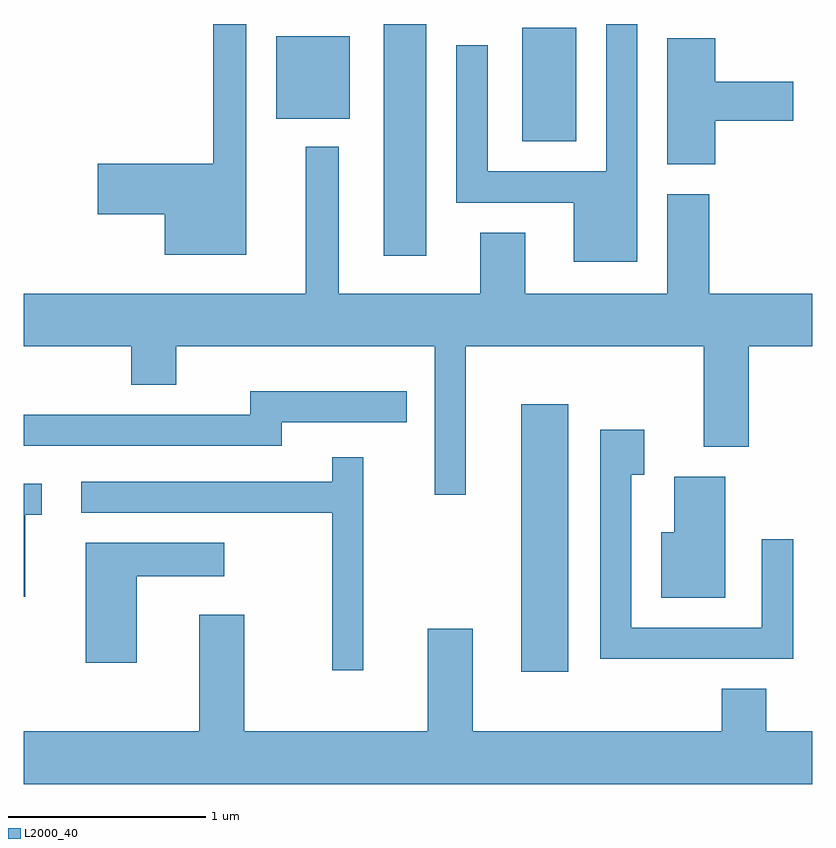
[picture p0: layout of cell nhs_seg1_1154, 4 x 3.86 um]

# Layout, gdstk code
import gdstk
lib = gdstk.Library(unit=1e-6, precision=1e-09)
def R(c, l, rs):  # rectangles x0, y0, x1, y1
    for r in rs: c.add(gdstk.rectangle(r[:2], r[2:], *l))
def P(c, l, *ps):  # polygons
    for p in ps: c.add(gdstk.Polygon(p, *l))
L2000_40 = (2000, 40)

nhs_seg1_1154 = lib.new_cell('nhs_seg1_1154')
R(nhs_seg1_1154, L2000_40, [(224.136,842.426,224.374,843.784), (223.436,844.536,223.654,845.712), (224.141,845.116,224.414,845.694), (222.891,845.231,223.264,845.649)])
P(nhs_seg1_1154, L2000_40, [(222.739,845.712),(222.571,845.712),(222.571,845.004),(221.986,845.004),(221.986,844.746),(222.326,844.746),(222.326,844.541),(222.739,844.541)],
  [(224.724,845.712),(224.566,845.712),(224.566,844.964),(223.964,844.964),(223.964,845.603),(223.806,845.603),(223.806,844.806),(224.401,844.806),(224.401,844.506),(224.724,844.506)],
  [(225.119,845.221),(225.514,845.221),(225.514,845.419),(225.119,845.419),(225.119,845.639),(224.876,845.639),(224.876,845.001),(225.119,845.001)],
  [(223.854,844.076),(225.061,844.076),(225.061,843.566),(225.289,843.566),(225.289,844.076),(225.611,844.076),(225.611,844.344),(225.089,844.344),(225.089,844.849),(224.876,844.849),(224.876,844.344),(224.154,844.344),(224.154,844.654),(223.926,844.654),(223.926,844.344),(223.209,844.344),(223.209,845.088),(223.041,845.088),(223.041,844.344),(221.611,844.344),(221.611,844.076),(222.156,844.076),(222.156,843.881),(222.384,843.881),(222.384,844.076),(223.696,844.076),(223.696,843.323),(223.854,843.323)],
  [(222.919,843.691),(223.553,843.691),(223.553,843.849),(222.761,843.849),(222.761,843.729),(221.611,843.729),(221.611,843.571),(222.919,843.571)],
  [(225.514,843.098),(225.356,843.098),(225.356,842.649),(224.694,842.649),(224.694,843.426),(224.759,843.426),(224.759,843.654),(224.536,843.654),(224.536,842.491),(225.514,842.491)],
  [(223.334,843.513),(223.176,843.513),(223.176,843.389),(221.903,843.389),(221.903,843.231),(223.176,843.231),(223.176,842.433),(223.334,842.433)],
  [(225.169,843.414),(224.911,843.414),(224.911,843.134),(224.846,843.134),(224.846,842.801),(225.169,842.801)],
  [(221.619,843.221),(221.703,843.221),(221.703,843.379),(221.611,843.379),(221.611,842.806),(221.619,842.806)],
  [(222.184,842.911),(222.628,842.911),(222.628,843.079),(221.926,843.079),(221.926,842.471),(222.184,842.471)],
  [(225.611,842.124),(225.379,842.124),(225.379,842.339),(225.151,842.339),(225.151,842.124),(223.889,842.124),(223.889,842.644),(223.661,842.644),(223.661,842.124),(222.729,842.124),(222.729,842.714),(222.501,842.714),(222.501,842.124),(221.611,842.124),(221.611,841.856),(225.611,841.856)])

lib.write_gds('nhs_seg1_1154.gds')
